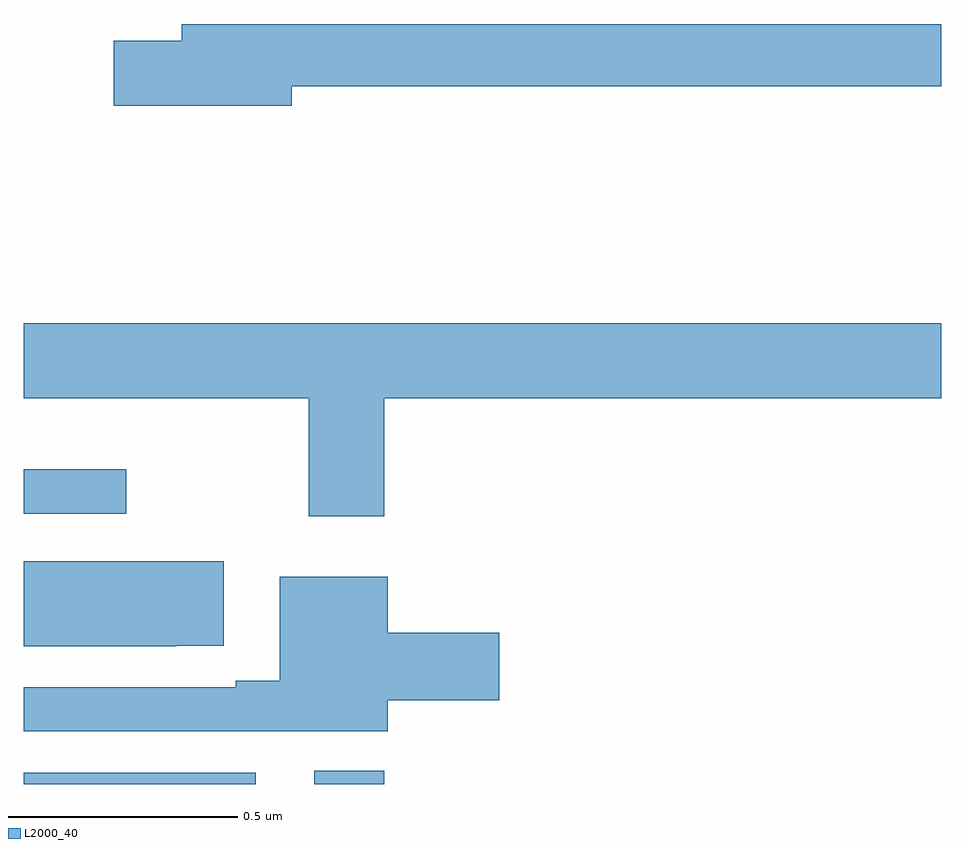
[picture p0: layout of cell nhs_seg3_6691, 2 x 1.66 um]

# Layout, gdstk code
import gdstk
lib = gdstk.Library(unit=1e-6, precision=1e-09)
def R(c, l, rs):  # rectangles x0, y0, x1, y1
    for r in rs: c.add(gdstk.rectangle(r[:2], r[2:], *l))
def P(c, l, *ps):  # polygons
    for p in ps: c.add(gdstk.Polygon(p, *l))
L2000_40 = (2000, 40)

nhs_seg3_6691 = lib.new_cell('nhs_seg3_6691')
R(nhs_seg3_6691, L2000_40, [(194,709.4,194.506,709.425), (194.633,709.4,194.786,709.429), (194,709.989,194.224,710.086)])
P(nhs_seg3_6691, L2000_40, [(194.584,710.92),(196,710.92),(196,711.056),(194.345,711.056),(194.345,711.02),(194.196,711.02),(194.196,710.878),(194.584,710.878)],
  [(194.786,710.24),(196,710.24),(196,710.404),(194,710.404),(194,710.24),(194.621,710.24),(194.621,709.983),(194.786,709.983)],
  [(194.333,709.701),(194.436,709.701),(194.436,709.885),(194,709.885),(194,709.7),(194.333,709.7)],
  [(194.794,709.583),(195.037,709.583),(195.037,709.73),(194.794,709.73),(194.794,709.852),(194.558,709.852),(194.558,709.625),(194.462,709.625),(194.462,709.611),(194,709.611),(194,709.515),(194.794,709.515)])

lib.write_gds('nhs_seg3_6691.gds')
